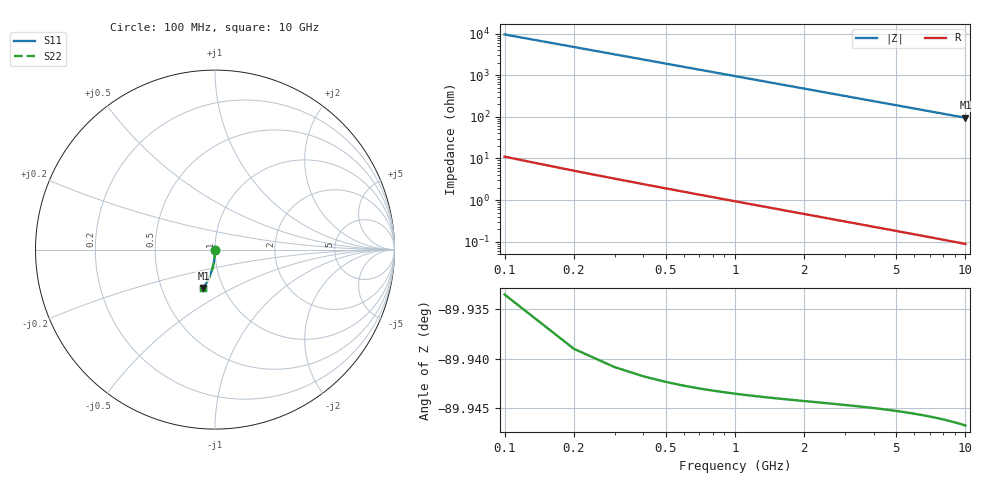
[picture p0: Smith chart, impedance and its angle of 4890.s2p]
# Hz S RI R 50.00
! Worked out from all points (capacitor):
!   100 points, 100 MHz to 10 GHz, reference 50 ohm
!   read as one part in shunt: C = 167 fF near 100 MHz
!   lowest |Z| = 95.4 ohm at 10 GHz (marker M1)
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1e8  0.000173 -0.00229  0.9998 -0.00296  0.9998 -0.00296  0.000173 -0.00229
2e8  0.000151 -0.00457  0.9998 -0.00592  0.9998 -0.00592  0.000151 -0.00457
3e8  0.000116 -0.00685  0.9997 -0.00887  0.9997 -0.00887  0.000116 -0.00685
4e8  6.66e-05 -0.00914  0.9997 -0.0118  0.9997 -0.0118  6.66e-05 -0.00914
5e8  3.92e-06 -0.0114  0.9996 -0.0148  0.9996 -0.0148  3.92e-06 -0.0114
6e8  -7.24e-05 -0.0137  0.9995 -0.0177  0.9995 -0.0177  -7.24e-05 -0.0137
7e8  -0.000162 -0.016  0.9995 -0.0207  0.9995 -0.0207  -0.000162 -0.016
8e8  -0.000266 -0.0183  0.9993 -0.0237  0.9993 -0.0237  -0.000266 -0.0183
9e8  -0.000383 -0.0206  0.9992 -0.0266  0.9992 -0.0266  -0.000383 -0.0206
1.1e9  -0.000657 -0.0251  0.9989 -0.0325  0.9989 -0.0325  -0.000657 -0.0251
1.4e9  -0.00117 -0.032  0.9984 -0.0414  0.9984 -0.0414  -0.00117 -0.032
1.8e9  -0.00204 -0.041  0.9975 -0.0532  0.9975 -0.0532  -0.00204 -0.041
2.1e9  -0.00284 -0.0479  0.9967 -0.062  0.9967 -0.062  -0.00284 -0.0479
2.5e9  -0.00408 -0.0569  0.9954 -0.0737  0.9954 -0.0737  -0.00408 -0.0569
2.9e9  -0.00554 -0.0659  0.9939 -0.0854  0.9939 -0.0854  -0.00554 -0.0659
3.4e9  -0.00766 -0.0771  0.9917 -0.1  0.9917 -0.1  -0.00766 -0.0771
4.2e9  -0.0117 -0.0949  0.9875 -0.1231  0.9875 -0.1231  -0.0117 -0.0949
5.1e9  -0.0173 -0.1145  0.9817 -0.1489  0.9817 -0.1489  -0.0173 -0.1145
5.9e9  -0.0231 -0.1317  0.9757 -0.1715  0.9757 -0.1715  -0.0231 -0.1317
6.7e9  -0.0296 -0.1485  0.9689 -0.1937  0.9689 -0.1937  -0.0296 -0.1485
8.4e9  -0.046 -0.1828  0.9519 -0.2396  0.9519 -0.2396  -0.046 -0.1828
1e10  -0.0642 -0.2132  0.933 -0.2809  0.933 -0.2809  -0.0642 -0.2132
